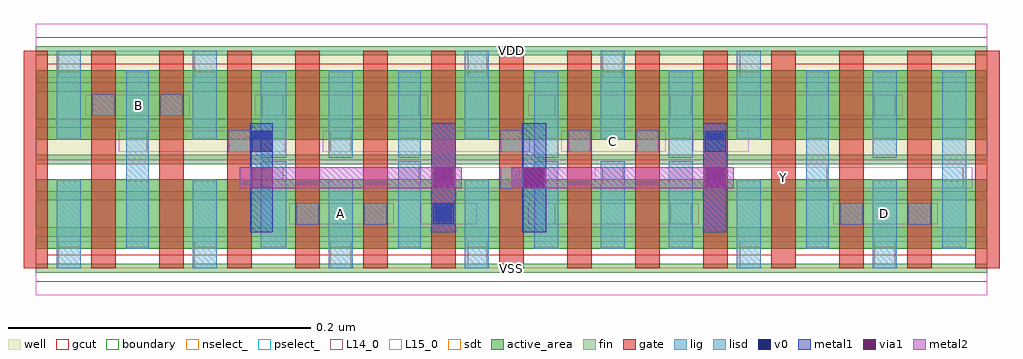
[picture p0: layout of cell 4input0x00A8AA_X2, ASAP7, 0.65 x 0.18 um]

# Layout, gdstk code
import gdstk
lib = gdstk.Library(unit=1e-6, precision=1e-09)
def R(c, l, rs):  # rectangles x0, y0, x1, y1
    for r in rs: c.add(gdstk.rectangle(r[:2], r[2:], *l))
def A(c, l, x, y, w, h, nx, ny, dx, dy):  # array of equal rectangles
    R(c, l, [(x+i*dx, y+j*dy, x+i*dx+w, y+j*dy+h) for i in range(nx) for j in range(ny)])
def P(c, l, *ps):  # polygons
    for p in ps: c.add(gdstk.Polygon(p, *l))
well = (1, 0)
fin = (2, 0)
gate = (7, 0)
gcut = (10, 0)
active_area = (11, 0)
nselect_ = (12, 0)
pselect_ = (13, 0)
L14_0 = (14, 0)
L15_0 = (15, 0)
lig = (16, 0)
lisd = (17, 0)
v0 = (18, 0)
metal1 = (19, 0)
metal2 = (20, 0)
via1 = (21, 0)
sdt = (88, 0)
boundary = (100, 0)

c_4input0x00a8aa_x2 = lib.new_cell('4input0x00A8AA_X2')
R(c_4input0x00a8aa_x2, well, [(0,0.072,0.63,0.144)])
A(c_4input0x00a8aa_x2, fin, 0, -0.003, 0.63, 0.006, 1, 7, 0, 0.024)
A(c_4input0x00a8aa_x2, gate, -0.008, 0, 0.016, 0.144, 15, 1, 0.045, 0)
P(c_4input0x00a8aa_x2, gcut, [(0,-0.009),(0,0),(-0.008,0),(-0.008,0.135),(0.008,0.135),(0.008,0.009),(0.487,0.009),(0.487,0.135),(0.503,0.135),(0.503,0.009),(0.622,0.009),(0.622,0.135),(-0.008,0.135),(-0.008,0.144),(0,0.144),(0,0.153),(0.63,0.153),(0.63,0.144),(0.638,0.144),(0.638,0),(0.63,0),(0.63,-0.009)])
R(c_4input0x00a8aa_x2, active_area, [(0,0.013,0.63,0.059), (0,0.085,0.63,0.131)])
R(c_4input0x00a8aa_x2, nselect_, [(0,0,0.63,0.072)])
R(c_4input0x00a8aa_x2, pselect_, [(0,0.072,0.63,0.144)])
A(c_4input0x00a8aa_x2, L14_0, 0.173, 0.029, 0.014, 0.014, 3, 1, 0.045, 0)
A(c_4input0x00a8aa_x2, L14_0, 0.308, 0.077, 0.014, 0.014, 4, 1, 0.045, 0)
A(c_4input0x00a8aa_x2, L14_0, 0.15, 0.101, 0.014, 0.014, 4, 1, 0.09, 0)
R(c_4input0x00a8aa_x2, L14_0, [(0.015,0,0.03,0.018), (0.105,0,0.12,0.018), (0.195,0,0.209,0.018), (0.286,0,0.299,0.018), (0.466,0,0.48,0.018), (0.555,0,0.569,0.018), (0.33,0.029,0.344,0.043), (0.42,0.029,0.434,0.043), (0.533,0.029,0.547,0.043), (0.578,0.029,0.592,0.043), (0.15,0.053,0.164,0.067), (0.24,0.053,0.254,0.067), (0.308,0.053,0.322,0.067), (0.375,0.053,0.389,0.067), (0.51,0.053,0.524,0.067), (0.6,0.053,0.614,0.067), (0.06,0.077,0.074,0.091), (0.128,0.077,0.142,0.091), (0.195,0.077,0.209,0.091), (0.038,0.101,0.052,0.115), (0.083,0.101,0.097,0.115), (0.555,0.101,0.569,0.115), (0.015,0.126,0.03,0.144), (0.105,0.126,0.12,0.144), (0.286,0.126,0.299,0.144), (0.375,0.126,0.389,0.144), (0.466,0.126,0.48,0.144)])
R(c_4input0x00a8aa_x2, L15_0, [(0,-0.018,0.63,0.018), (0.168,0.029,0.237,0.043), (0.255,0.029,0.292,0.043), (0.326,0.029,0.439,0.043), (0.528,0.029,0.597,0.043), (0.145,0.053,0.345,0.067), (0.37,0.053,0.62,0.067), (0.055,0.077,0.165,0.091), (0.19,0.077,0.327,0.091), (0.348,0.077,0.417,0.091), (0.435,0.077,0.472,0.091), (0.033,0.101,0.102,0.115), (0.145,0.101,0.26,0.115), (0.326,0.101,0.574,0.115), (0,0.126,0.63,0.162)])
A(c_4input0x00a8aa_x2, lig, 0.173, 0.029, 0.014, 0.014, 3, 1, 0.045, 0)
A(c_4input0x00a8aa_x2, lig, 0.308, 0.077, 0.014, 0.014, 4, 1, 0.045, 0)
R(c_4input0x00a8aa_x2, lig, [(0.533,0.029,0.547,0.043), (0.578,0.029,0.592,0.043), (0.308,0.053,0.322,0.067), (0.128,0.077,0.142,0.091), (0.038,0.101,0.052,0.115), (0.083,0.101,0.097,0.115)])
A(c_4input0x00a8aa_x2, lisd, 0.014, 0, 0.016, 0.059, 4, 1, 0.09, 0)
A(c_4input0x00a8aa_x2, lisd, 0.284, 0.085, 0.016, 0.059, 3, 1, 0.09, 0)
R(c_4input0x00a8aa_x2, lisd, [(0.464,0,0.48,0.059), (0.554,0,0.57,0.059), (0.06,0.013,0.075,0.131), (0.149,0.013,0.166,0.071), (0.24,0.013,0.255,0.071), (0.33,0.013,0.346,0.071), (0.374,0.013,0.39,0.071), (0.419,0.013,0.435,0.071), (0.51,0.013,0.525,0.131), (0.6,0.013,0.616,0.131), (0.149,0.073,0.166,0.131), (0.194,0.073,0.21,0.131), (0.24,0.073,0.255,0.131), (0.33,0.073,0.346,0.131), (0.419,0.073,0.435,0.131), (0.554,0.073,0.57,0.131), (0.014,0.085,0.03,0.144), (0.104,0.085,0.12,0.144)])
R(c_4input0x00a8aa_x2, v0, [(0.263,0.029,0.277,0.043), (0.323,0.053,0.337,0.067), (0.143,0.077,0.157,0.091), (0.443,0.077,0.457,0.091)])
R(c_4input0x00a8aa_x2, metal1, [(0.142,0.024,0.157,0.096), (0.262,0.024,0.278,0.096), (0.322,0.024,0.338,0.096), (0.442,0.024,0.457,0.096)])
R(c_4input0x00a8aa_x2, metal2, [(0.135,0.053,0.282,0.067), (0.315,0.053,0.462,0.067)])
R(c_4input0x00a8aa_x2, via1, [(0.143,0.053,0.157,0.067), (0.263,0.053,0.277,0.067), (0.323,0.053,0.337,0.067), (0.443,0.053,0.457,0.067)])
A(c_4input0x00a8aa_x2, sdt, 0.014, 0.014, 0.016, 0.044, 4, 2, 0.09, 0.072)
A(c_4input0x00a8aa_x2, sdt, 0.374, 0.014, 0.016, 0.044, 3, 2, 0.045, 0.072)
R(c_4input0x00a8aa_x2, sdt, [(0.06,0.014,0.075,0.058), (0.149,0.014,0.166,0.058), (0.24,0.014,0.255,0.058), (0.33,0.014,0.346,0.058), (0.51,0.014,0.525,0.058), (0.554,0.014,0.57,0.058), (0.6,0.014,0.616,0.058), (0.06,0.086,0.075,0.13), (0.149,0.086,0.166,0.13), (0.24,0.086,0.255,0.13), (0.33,0.086,0.346,0.13), (0.51,0.086,0.525,0.13), (0.554,0.086,0.57,0.13), (0.6,0.086,0.616,0.13)])
R(c_4input0x00a8aa_x2, boundary, [(0,0,0.63,0.144)])
c_4input0x00a8aa_x2.add(gdstk.Label('D', (0.562,0.036), layer=15, texttype=251))
c_4input0x00a8aa_x2.add(gdstk.Label('VSS', (0.315,0), layer=15, texttype=251))
c_4input0x00a8aa_x2.add(gdstk.Label('VDD', (0.315,0.144), layer=15, texttype=251))
c_4input0x00a8aa_x2.add(gdstk.Label('B', (0.068,0.108), layer=15, texttype=251))
c_4input0x00a8aa_x2.add(gdstk.Label('VSS', (0.315,0), layer=15, texttype=251))
c_4input0x00a8aa_x2.add(gdstk.Label('VDD', (0.315,0.144), layer=15, texttype=251))
c_4input0x00a8aa_x2.add(gdstk.Label('C', (0.382,0.084), layer=15, texttype=251))
c_4input0x00a8aa_x2.add(gdstk.Label('VSS', (0.315,0), layer=15, texttype=251))
c_4input0x00a8aa_x2.add(gdstk.Label('VDD', (0.315,0.144), layer=15, texttype=251))
c_4input0x00a8aa_x2.add(gdstk.Label('A', (0.202,0.036), layer=15, texttype=251))
c_4input0x00a8aa_x2.add(gdstk.Label('VSS', (0.315,0), layer=15, texttype=251))
c_4input0x00a8aa_x2.add(gdstk.Label('VDD', (0.315,0.144), layer=15, texttype=251))
c_4input0x00a8aa_x2.add(gdstk.Label('Y', (0.495,0.06), layer=15, texttype=251))
c_4input0x00a8aa_x2.add(gdstk.Label('VSS', (0.315,0), layer=15, texttype=251))
c_4input0x00a8aa_x2.add(gdstk.Label('VDD', (0.315,0.144), layer=15, texttype=251))
c_4input0x00a8aa_x2.add(gdstk.Label('VSS', (0.315,0), layer=3, texttype=251))
c_4input0x00a8aa_x2.add(gdstk.Label('VSS', (0.315,0), layer=3, texttype=251))
c_4input0x00a8aa_x2.add(gdstk.Label('VSS', (0.315,0), layer=3, texttype=251))
c_4input0x00a8aa_x2.add(gdstk.Label('VSS', (0.315,0), layer=3, texttype=251))
c_4input0x00a8aa_x2.add(gdstk.Label('VSS', (0.315,0), layer=3, texttype=251))
c_4input0x00a8aa_x2.add(gdstk.Label('VDD', (0.315,0.144), layer=1, texttype=251))
c_4input0x00a8aa_x2.add(gdstk.Label('VDD', (0.315,0.144), layer=1, texttype=251))
c_4input0x00a8aa_x2.add(gdstk.Label('VDD', (0.315,0.144), layer=1, texttype=251))
c_4input0x00a8aa_x2.add(gdstk.Label('VDD', (0.315,0.144), layer=1, texttype=251))
c_4input0x00a8aa_x2.add(gdstk.Label('VDD', (0.315,0.144), layer=1, texttype=251))

lib.write_gds('4input0x00A8AA_X2.gds')
